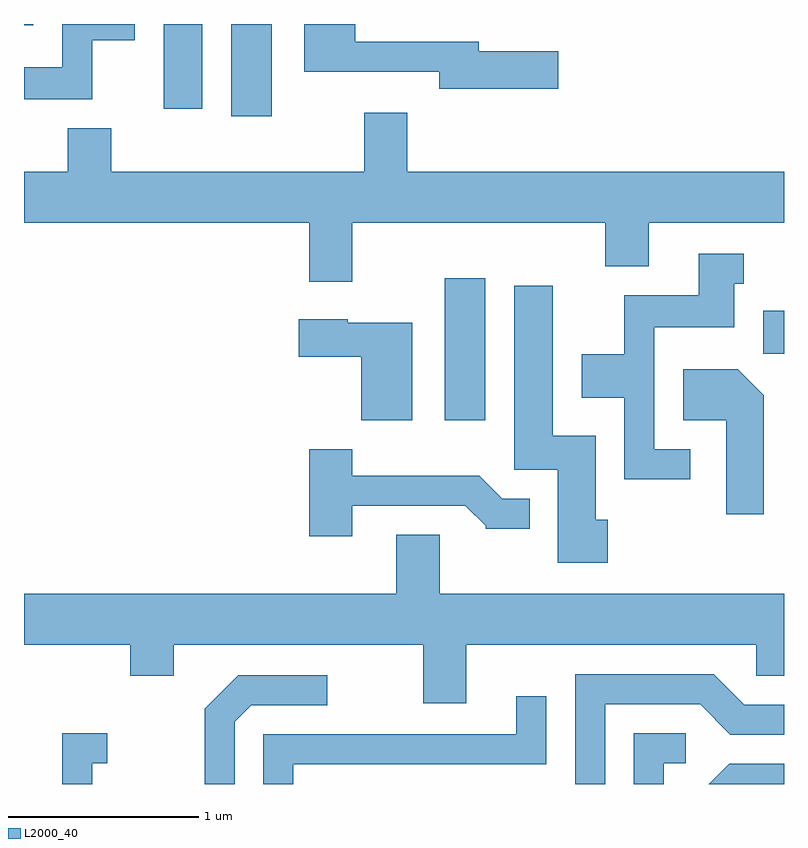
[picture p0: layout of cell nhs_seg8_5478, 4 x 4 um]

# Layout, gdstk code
import gdstk
lib = gdstk.Library(unit=1e-6, precision=1e-09)
def R(c, l, rs):  # rectangles x0, y0, x1, y1
    for r in rs: c.add(gdstk.rectangle(r[:2], r[2:], *l))
def P(c, l, *ps):  # polygons
    for p in ps: c.add(gdstk.Polygon(p, *l))
L2000_40 = (2000, 40)

nhs_seg8_5478 = lib.new_cell('nhs_seg8_5478')
R(nhs_seg8_5478, L2000_40, [(351.826,1844.256,352.039,1845.004), (353.501,1844.606,353.611,1844.834), (350.701,1845.856,350.914,1846.342), (350.346,1845.896,350.549,1846.342), (349.611,1846.336,349.659,1846.342)])
P(nhs_seg8_5478, L2000_40, [(349.969,1846.256),(350.194,1846.256),(350.194,1846.342),(349.811,1846.342),(349.811,1846.114),(349.611,1846.114),(349.611,1845.946),(349.969,1845.946)],
  [(352.424,1846.199),(352.004,1846.199),(352.004,1846.249),(351.354,1846.249),(351.354,1846.342),(351.086,1846.342),(351.086,1846.091),(351.796,1846.091),(351.796,1846.001),(352.424,1846.001)],
  [(351.339,1845.296),(352.671,1845.296),(352.671,1845.066),(352.899,1845.066),(352.899,1845.296),(353.611,1845.296),(353.611,1845.564),(351.629,1845.564),(351.629,1845.874),(351.401,1845.874),(351.401,1845.564),(350.069,1845.564),(350.069,1845.794),(349.841,1845.794),(349.841,1845.564),(349.611,1845.564),(349.611,1845.296),(351.111,1845.296),(351.111,1844.986),(351.339,1844.986)],
  [(353.118,1844.104),(352.929,1844.104),(352.929,1844.746),(353.349,1844.746),(353.349,1844.976),(353.398,1844.976),(353.398,1845.134),(353.161,1845.134),(353.161,1844.914),(352.771,1844.914),(352.771,1844.604),(352.546,1844.604),(352.546,1844.376),(352.771,1844.376),(352.771,1843.946),(353.118,1843.946)],
  [(352.684,1843.734),(352.619,1843.734),(352.619,1844.174),(352.394,1844.174),(352.394,1844.964),(352.191,1844.964),(352.191,1843.996),(352.421,1843.996),(352.421,1843.506),(352.684,1843.506)],
  [(351.654,1844.769),(351.314,1844.769),(351.314,1844.789),(351.056,1844.789),(351.056,1844.591),(351.386,1844.591),(351.386,1844.256),(351.654,1844.256)],
  [(353.504,1844.387),(353.367,1844.524),(353.081,1844.524),(353.081,1844.256),(353.306,1844.256),(353.306,1843.761),(353.504,1843.761)],
  [(351.339,1843.806),(351.934,1843.806),(352.04,1843.7),(352.04,1843.686),(352.273,1843.686),(352.273,1843.844),(352.127,1843.844),(352.007,1843.964),(351.339,1843.964),(351.339,1844.104),(351.111,1844.104),(351.111,1843.646),(351.339,1843.646)],
  [(351.939,1843.076),(353.466,1843.076),(353.466,1842.911),(353.611,1842.911),(353.611,1843.344),(351.799,1843.344),(351.799,1843.654),(351.571,1843.654),(351.571,1843.344),(349.611,1843.344),(349.611,1843.076),(350.171,1843.076),(350.171,1842.911),(350.399,1842.911),(350.399,1843.076),(351.711,1843.076),(351.711,1842.766),(351.939,1842.766)],
  [(352.669,1842.761),(353.169,1842.761),(353.329,1842.601),(353.611,1842.601),(353.611,1842.759),(353.402,1842.759),(353.242,1842.919),(352.511,1842.919),(352.511,1842.342),(352.669,1842.342)],
  [(350.719,1842.669),(350.807,1842.756),(351.208,1842.756),(351.208,1842.914),(350.739,1842.914),(350.561,1842.737),(350.561,1842.342),(350.719,1842.342)],
  [(351.029,1842.446),(352.359,1842.446),(352.359,1842.803),(352.201,1842.803),(352.201,1842.604),(350.871,1842.604),(350.871,1842.342),(351.029,1842.342)],
  [(349.969,1842.451),(350.048,1842.451),(350.048,1842.609),(349.811,1842.609),(349.811,1842.342),(349.969,1842.342)],
  [(352.979,1842.451),(353.093,1842.451),(353.093,1842.609),(352.821,1842.609),(352.821,1842.342),(352.979,1842.342)],
  [(353.611,1842.449),(353.324,1842.449),(353.216,1842.342),(353.611,1842.342)])

lib.write_gds('nhs_seg8_5478.gds')
